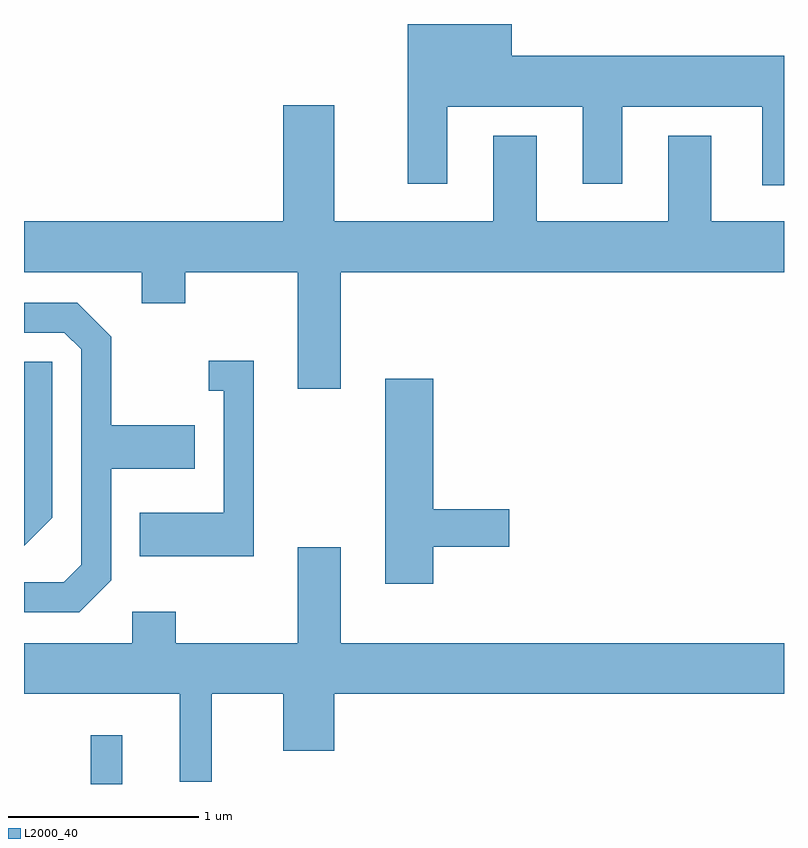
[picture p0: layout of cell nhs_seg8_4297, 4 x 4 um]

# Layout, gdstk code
import gdstk
lib = gdstk.Library(unit=1e-6, precision=1e-09)
def R(c, l, rs):  # rectangles x0, y0, x1, y1
    for r in rs: c.add(gdstk.rectangle(r[:2], r[2:], *l))
def P(c, l, *ps):  # polygons
    for p in ps: c.add(gdstk.Polygon(p, *l))
L2000_40 = (2000, 40)

nhs_seg8_4297 = lib.new_cell('nhs_seg8_4297')
R(nhs_seg8_4297, L2000_40, [(313.961,1880.342,314.129,1880.598)])
P(nhs_seg8_4297, L2000_40, [(317.611,1884.174),(316.179,1884.174),(316.179,1884.342),(315.631,1884.342),(315.631,1883.501),(315.839,1883.501),(315.839,1883.906),(316.551,1883.906),(316.551,1883.501),(316.759,1883.501),(316.759,1883.906),(317.496,1883.906),(317.496,1883.493),(317.611,1883.493)],
  [(315.279,1883.036),(317.611,1883.036),(317.611,1883.304),(317.229,1883.304),(317.229,1883.754),(317.001,1883.754),(317.001,1883.304),(316.309,1883.304),(316.309,1883.754),(316.081,1883.754),(316.081,1883.304),(315.244,1883.304),(315.244,1883.914),(314.976,1883.914),(314.976,1883.304),(313.611,1883.304),(313.611,1883.036),(314.231,1883.036),(314.231,1882.871),(314.459,1882.871),(314.459,1883.036),(315.051,1883.036),(315.051,1882.421),(315.279,1882.421)],
  [(314.013,1881.357),(314.069,1881.414),(314.069,1882.001),(314.509,1882.001),(314.509,1882.229),(314.069,1882.229),(314.069,1882.697),(313.892,1882.874),(313.611,1882.874),(313.611,1882.716),(313.824,1882.716),(313.911,1882.629),(313.911,1881.497),(313.819,1881.404),(313.611,1881.404),(313.611,1881.246),(313.902,1881.246)],
  [(314.819,1882.569),(314.583,1882.569),(314.583,1882.411),(314.661,1882.411),(314.661,1881.769),(314.221,1881.769),(314.221,1881.541),(314.819,1881.541)],
  [(313.759,1881.744),(313.759,1882.564),(313.611,1882.564),(313.611,1881.595)],
  [(315.764,1881.591),(316.164,1881.591),(316.164,1881.789),(315.764,1881.789),(315.764,1882.474),(315.511,1882.474),(315.511,1881.396),(315.764,1881.396)],
  [(314.599,1880.816),(314.976,1880.816),(314.976,1880.516),(315.244,1880.516),(315.244,1880.816),(317.611,1880.816),(317.611,1881.084),(315.279,1881.084),(315.279,1881.589),(315.051,1881.589),(315.051,1881.084),(314.409,1881.084),(314.409,1881.249),(314.181,1881.249),(314.181,1881.084),(313.611,1881.084),(313.611,1880.816),(314.431,1880.816),(314.431,1880.353),(314.599,1880.353)])

lib.write_gds('nhs_seg8_4297.gds')
